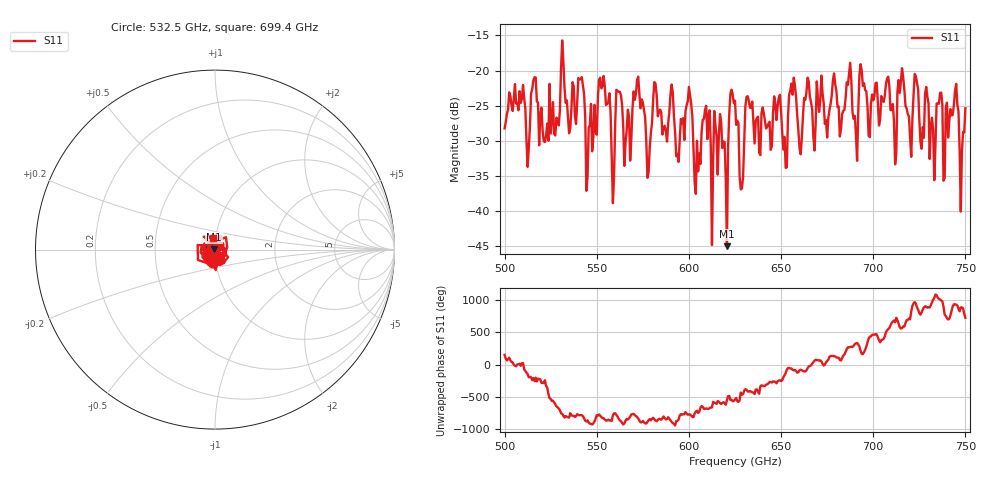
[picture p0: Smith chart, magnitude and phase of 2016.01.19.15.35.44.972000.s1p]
!Created with skrf (http://scikit-rf.org).
# GHz S RI R 50.0
!freq ReS11 ImS11
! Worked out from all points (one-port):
!   401 points, 500 GHz to 750 GHz, reference 50 ohm
!   lowest |S11| = -45.0 dB at 620.6 GHz (marker M1), VSWR 1.01, Z = 49.4 + j0.112 ohm
!   |S11| at or under -10 dB: start of sweep to end of sweep
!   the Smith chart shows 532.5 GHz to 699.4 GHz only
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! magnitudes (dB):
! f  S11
! 500 GHz  -28.2
! 512.5 GHz  -33.7
! 515.6 GHz  -21.4
! 522.5 GHz  -29.2
! 531.2 GHz  -15.7
! 541.9 GHz  -20.9
! 545 GHz  -35.2
! 552.5 GHz  -22.5
! 558.8 GHz  -38.9
! 562.5 GHz  -23.0
! 573.1 GHz  -23.4
! 578.1 GHz  -34.5
! 581.2 GHz  -21.6
! 590.6 GHz  -22.0
! 593.8 GHz  -31.8
! 600 GHz  -22.3
! 603.8 GHz  -37.5
! 610 GHz  -29.7
! 620.6 GHz  -45.0
! 625 GHz  -24.3
! 628.8 GHz  -36.8
! 631.9 GHz  -23.6
! 651.9 GHz  -29.4
! 656.2 GHz  -23.4
! 660.6 GHz  -31.9
! 687.5 GHz  -18.9
! 718.8 GHz  -26.2
! 750 GHz  -25.3
